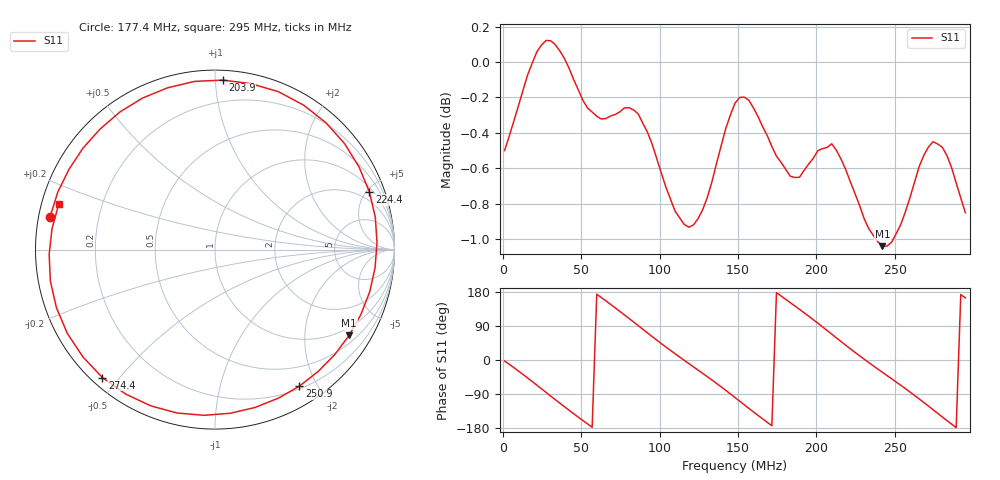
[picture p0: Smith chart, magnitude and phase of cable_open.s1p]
! File created by NanoVNA (https://gen111.taobao.com/)
! Start 1000000Hz  Stop 295000000Hz  Points 101
# HZ S MA R 50
!S - Parameter data, F S11
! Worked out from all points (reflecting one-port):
!   101 points, 1 MHz to 295 MHz, reference 50 ohm
!   lowest |S11| = -1.0 dB at 242.1 MHz (marker M1), VSWR 16.73, Z = 36.5 - j164 ohm
!   phase of S11 starts at -3 deg and turns -913 deg over the sweep
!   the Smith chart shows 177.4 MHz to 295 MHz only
!   S11 on the Smith chart (normalised r, x): 177.4 MHz: 0.03, +0.10; 203.9 MHz: 0.06, +1.05; 224.4 MHz: 1.27, +5.22; 250.9 MHz: 0.23, -1.77; 274.4 MHz: 0.03, -0.45; 295 MHz: 0.05, +0.14
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1000000  0.9441 -2.7
9820000  0.972 -29.1
2.158e7  1.007 -66.3
3.04e7  1.014 -95.1
3.922e7  1.002 -123.4
4.804e7  0.9821 -150.9
5.686e7  0.968 -177.5
6.568e7  0.964 155.9
7.45e7  0.9681 128.4
8.332e7  0.9693 100.2
9.214e7  0.9554 71.6
1.039e8  0.922 34.3
1.1272e8  0.9036 7.7
1.3036e8  0.9158 -44.1
1.48e8  0.9736 -99.0
1.627e8  0.9651 -146.2
1.774e8  0.9369 168.9
1.8622e8  0.9277 142.5
2.0386e8  0.9453 87.4
2.1268e8  0.9443 58.4
2.215e8  0.9253 29.8
2.2444e8  0.9183 20.6
2.4208e8  0.8872 -32.6
2.509e8  0.8945 -58.4
2.5972e8  0.9159 -84.7
2.7442e8  0.9495 -131.4
2.8324e8  0.941 -159.9
2.95e8  0.9067 163.9
